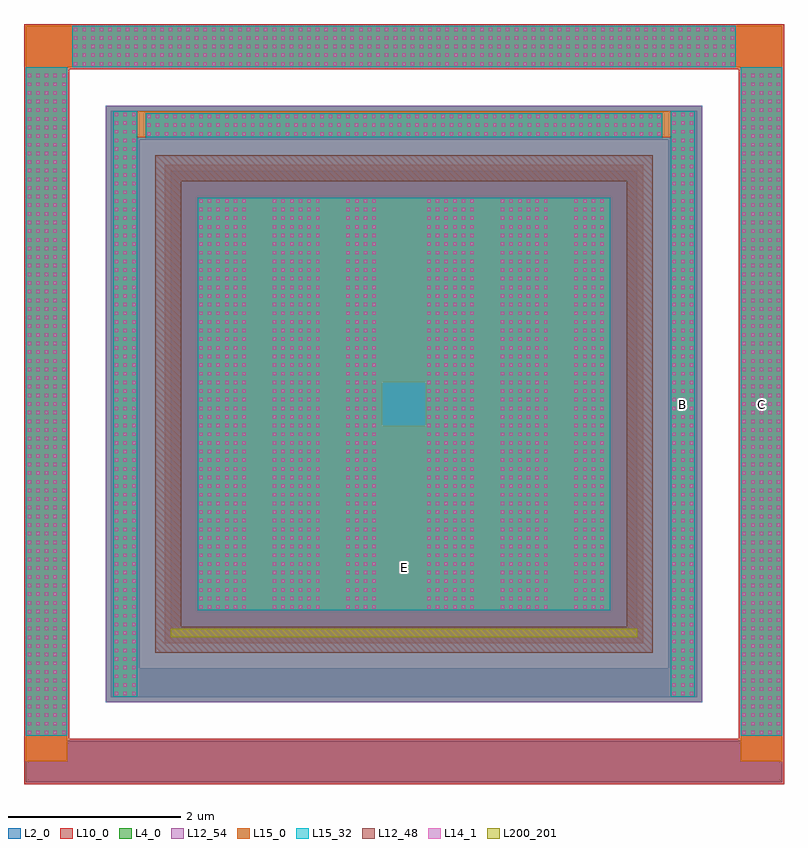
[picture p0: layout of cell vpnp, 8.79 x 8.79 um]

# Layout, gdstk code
import gdstk
lib = gdstk.Library(unit=1e-6, precision=1e-09)
def R(c, l, rs):  # rectangles x0, y0, x1, y1
    for r in rs: c.add(gdstk.rectangle(r[:2], r[2:], *l))
def A(c, l, x, y, w, h, nx, ny, dx, dy):  # array of equal rectangles
    R(c, l, [(x+i*dx, y+j*dy, x+i*dx+w, y+j*dy+h) for i in range(nx) for j in range(ny)])
L2_0 = (2, 0)
L4_0 = (4, 0)
L10_0 = (10, 0)
L12_48 = (12, 48)
L12_54 = (12, 54)
L14_1 = (14, 1)
L15_0 = (15, 0)
L15_32 = (15, 32)
L200_201 = (200, 201)

vpnp = lib.new_cell('vpnp')
R(vpnp, L2_0, [(-10.879,-2.909,-2.127,-2.429), (-10.879,-2.429,-10.399,5.363), (-2.607,-2.429,-2.127,5.363), (-9.899,-1.929,-3.107,-1.589), (-9.899,-1.589,-9.559,4.523), (-3.447,-1.589,-3.107,4.523), (-9.203,-1.233,-3.803,4.167), (-9.899,4.523,-3.107,4.863), (-10.879,5.363,-2.127,5.843)])
R(vpnp, L4_0, [(-9.955,-1.985,-3.051,4.919)])
R(vpnp, L10_0, [(-10.9,-2.93,-2.106,-2.408), (-10.9,-2.408,-10.378,5.342), (-2.628,-2.408,-2.106,5.342), (-9.273,-1.303,-3.733,4.237), (-10.9,5.342,-2.106,5.864)])
R(vpnp, L12_48, [(-9.384,-1.414,-3.622,-1.108), (-9.384,-1.108,-9.078,4.042), (-3.928,-1.108,-3.622,4.042), (-9.384,4.042,-3.622,4.348)])
R(vpnp, L12_54, [(-9.955,-1.985,-3.051,4.919)])
A(vpnp, L14_1, -10.859, -2.353, 0.04, 0.04, 5, 77, 0.1, 0.1)
A(vpnp, L14_1, -2.587, -2.353, 0.04, 0.04, 5, 77, 0.1, 0.1)
A(vpnp, L14_1, -9.849, -1.903, 0.04, 0.04, 3, 68, 0.1, 0.1)
A(vpnp, L14_1, -3.397, -1.903, 0.04, 0.04, 3, 68, 0.1, 0.1)
A(vpnp, L14_1, -8.873, -0.903, 0.04, 0.04, 6, 48, 0.1, 0.1)
A(vpnp, L14_1, -8.021, -0.903, 0.04, 0.04, 6, 48, 0.1, 0.1)
A(vpnp, L14_1, -7.169, -0.903, 0.04, 0.04, 4, 48, 0.1, 0.1)
A(vpnp, L14_1, -6.235, -0.903, 0.04, 0.04, 6, 48, 0.1, 0.1)
A(vpnp, L14_1, -5.383, -0.903, 0.04, 0.04, 6, 48, 0.1, 0.1)
A(vpnp, L14_1, -4.531, -0.903, 0.04, 0.04, 4, 48, 0.1, 0.1)
A(vpnp, L14_1, -9.473, 4.573, 0.04, 0.04, 60, 3, 0.1, 0.1)
A(vpnp, L14_1, -10.323, 5.383, 0.04, 0.04, 77, 5, 0.1, 0.1)
R(vpnp, L15_0, [(-10.877,-2.669,-10.401,5.841), (-2.605,-2.669,-2.129,5.841), (-9.867,-1.921,-9.591,4.855), (-3.415,-1.921,-3.139,4.855), (-8.891,-0.921,-4.115,1.217), (-8.891,1.217,-6.753,1.717), (-6.253,1.217,-4.115,1.717), (-8.891,1.717,-4.115,3.855), (-9.591,4.555,-3.415,4.855), (-10.401,5.365,-2.605,5.841)])
R(vpnp, L15_32, [(-10.877,-2.371,-10.401,5.365), (-2.605,-2.371,-2.129,5.365), (-9.867,-1.921,-9.591,4.855), (-3.415,-1.921,-3.139,4.855), (-8.891,-0.921,-4.115,3.855), (-9.491,4.555,-3.515,4.831), (-10.341,5.365,-2.665,5.841)])
R(vpnp, L200_201, [(-9.203,-1.233,-3.803,-1.133)])
vpnp.add(gdstk.Label('E', (-6.503,-0.421), layer=15, texttype=20))
vpnp.add(gdstk.Label('B', (-3.277,1.467), layer=15, texttype=20))
vpnp.add(gdstk.Label('C', (-2.367,1.467), layer=15, texttype=20))

lib.write_gds('vpnp.gds')
